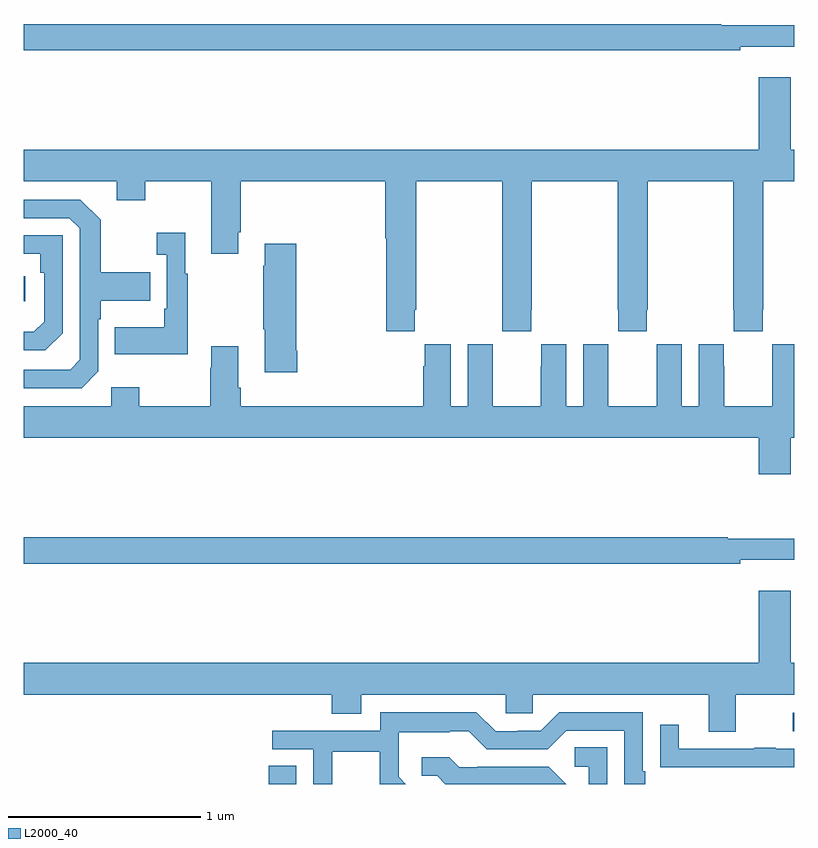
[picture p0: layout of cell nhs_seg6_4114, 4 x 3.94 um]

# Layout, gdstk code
import gdstk
lib = gdstk.Library(unit=1e-6, precision=1e-09)
def R(c, l, rs):  # rectangles x0, y0, x1, y1
    for r in rs: c.add(gdstk.rectangle(r[:2], r[2:], *l))
def P(c, l, *ps):  # polygons
    for p in ps: c.add(gdstk.Polygon(p, *l))
L2000_40 = (2000, 40)

nhs_seg6_4114 = lib.new_cell('nhs_seg6_4114')
R(nhs_seg6_4114, L2000_40, [(354.272,985.5,354.415,985.595), (356.991,985.773,357,985.869), (353,988.004,353.008,988.134)])
P(nhs_seg6_4114, L2000_40, [(356.72,989.327),(357,989.327),(357,989.437),(356.62,989.437),(356.62,989.444),(353,989.444),(353,989.308),(356.72,989.308)],
  [(355.031,987.961),(355.038,987.961),(355.038,988.628),(355.483,988.628),(355.483,987.961),(355.485,987.961),(355.485,987.849),(355.635,987.849),(355.635,987.961),(355.638,987.961),(355.638,988.628),(356.083,988.628),(356.083,987.961),(356.085,987.961),(356.085,987.849),(356.235,987.849),(356.235,987.961),(356.238,987.961),(356.238,988.628),(356.683,988.628),(356.683,987.961),(356.685,987.961),(356.685,987.849),(356.835,987.849),(356.835,987.961),(356.838,987.961),(356.838,988.628),(357,988.628),(357,988.792),(356.98,988.792),(356.98,989.167),(356.816,989.167),(356.816,988.792),(353,988.792),(353,988.628),(353.483,988.628),(353.483,988.529),(353.631,988.529),(353.631,988.628),(353.975,988.628),(353.975,988.251),(354.115,988.251),(354.115,988.363),(354.128,988.363),(354.128,988.628),(354.878,988.628),(354.878,988.332),(354.883,988.332),(354.883,987.849),(355.031,987.849)],
  [(353.388,987.642),(353.388,987.911),(353.401,987.911),(353.401,988.007),(353.657,988.007),(353.657,988.155),(353.401,988.155),(353.401,988.427),(353.295,988.533),(353,988.533),(353,988.437),(353.238,988.437),(353.292,988.383),(353.292,987.702),(353.241,987.651),(353,987.651),(353,987.555),(353.301,987.555)],
  [(353.851,988.147),(353.839,988.147),(353.839,988.36),(353.691,988.36),(353.691,988.247),(353.742,988.247),(353.742,987.967),(353.73,987.967),(353.73,987.871),(353.473,987.871),(353.473,987.731),(353.851,987.731)],
  [(353.202,987.84),(353.202,988.347),(353,988.347),(353,988.251),(353.086,988.251),(353.086,988.154),(353.106,988.154),(353.106,987.9),(353.053,987.847),(353,987.847),(353,987.75),(353.112,987.75)],
  [(354.419,987.748),(354.414,987.748),(354.414,988.303),(354.251,988.303),(354.251,988.19),(354.244,988.19),(354.244,987.859),(354.251,987.859),(354.251,987.636),(354.419,987.636)],
  [(356.286,987.781),(356.286,987.668),(356.285,987.668),(356.285,987.46),(356.035,987.46),(356.035,987.668),(356.034,987.668),(356.034,987.781),(355.904,987.781),(355.904,987.46),(355.816,987.46),(355.816,987.781),(355.686,987.781),(355.686,987.668),(355.685,987.668),(355.685,987.46),(355.435,987.46),(355.435,987.668),(355.434,987.668),(355.434,987.781),(355.304,987.781),(355.304,987.46),(355.216,987.46),(355.216,987.781),(355.082,987.781),(355.082,987.668),(355.073,987.668),(355.073,987.46),(354.128,987.46),(354.128,987.556),(354.115,987.556),(354.115,987.772),(353.975,987.772),(353.975,987.659),(353.968,987.659),(353.968,987.46),(353.601,987.46),(353.601,987.559),(353.454,987.559),(353.454,987.46),(353,987.46),(353,987.296),(356.816,987.296),(356.816,987.108),(356.98,987.108),(356.98,987.296),(357,987.296),(357,987.781),(356.886,987.781),(356.886,987.668),(356.885,987.668),(356.885,987.46),(356.635,987.46),(356.635,987.668),(356.634,987.668),(356.634,987.781),(356.504,987.781),(356.504,987.46),(356.416,987.46),(356.416,987.781)],
  [(356.72,986.663),(357,986.663),(357,986.773),(356.655,986.773),(356.655,986.78),(353,986.78),(353,986.644),(356.72,986.644)],
  [(356.695,985.964),(357,985.964),(357,986.128),(356.98,986.128),(356.98,986.503),(356.816,986.503),(356.816,986.128),(353,986.128),(353,985.964),(354.599,985.964),(354.599,985.865),(354.751,985.865),(354.751,985.964),(355.503,985.964),(355.503,985.866),(355.641,985.866),(355.641,985.964),(356.555,985.964),(356.555,985.77),(356.695,985.77)],
  [(354.603,985.668),(354.847,985.668),(354.847,985.5),(354.984,985.5),(354.946,985.538),(354.946,985.635),(354.948,985.635),(354.948,985.769),(355.211,985.769),(355.211,985.773),(355.311,985.773),(355.404,985.68),(355.719,985.68),(355.815,985.776),(356.118,985.776),(356.118,985.5),(356.227,985.5),(356.227,985.567),(356.214,985.567),(356.214,985.872),(355.779,985.872),(355.683,985.776),(355.565,985.776),(355.565,985.773),(355.449,985.773),(355.349,985.873),(354.852,985.873),(354.852,985.776),(354.291,985.776),(354.291,985.68),(354.504,985.68),(354.504,985.5),(354.603,985.5)],
  [(357,985.683),(356.903,985.683),(356.903,985.688),(356.791,985.688),(356.791,985.683),(356.401,985.683),(356.401,985.807),(356.305,985.807),(356.305,985.588),(356.407,985.588),(356.407,985.587),(357,985.587)],
  [(356.028,985.691),(355.86,985.691),(355.86,985.59),(355.932,985.59),(355.932,985.5),(356.028,985.5)],
  [(355.726,985.59),(355.354,985.59),(355.354,985.587),(355.26,985.587),(355.208,985.639),(355.065,985.639),(355.065,985.542),(355.146,985.542),(355.188,985.5),(355.816,985.5)])

lib.write_gds('nhs_seg6_4114.gds')
